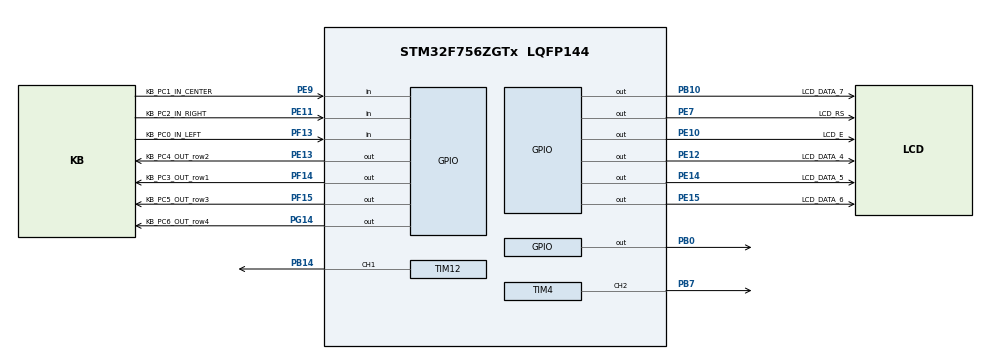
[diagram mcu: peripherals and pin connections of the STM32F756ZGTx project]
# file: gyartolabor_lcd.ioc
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Mcu.Family=STM32F7
Mcu.Name=STM32F756ZGTx
Mcu.Package=LQFP144
NVIC.PriorityGroup=NVIC_PRIORITYGROUP_4
NVIC.TIM4_IRQn=true\:0\:0\:false\:false\:true\:true\:true
NVIC.TIM8_BRK_TIM12_IRQn=true\:0\:0\:false\:false\:true\:true\:true
PB0.Signal=GPIO_Output
PB10.GPIO_Label=LCD_DATA_7
PB10.Signal=GPIO_Output
PB14.Signal=S_TIM12_CH1
PB7.Signal=S_TIM4_CH2
PE10.GPIO_Label=LCD_E
PE10.Signal=GPIO_Output
PE11.GPIO_Label=KB_PC2_IN_RIGHT
PE11.Signal=GPIO_Input
PE12.GPIO_Label=LCD_DATA_4
PE12.Signal=GPIO_Output
PE13.GPIO_Label=KB_PC4_OUT_row2
PE13.Signal=GPIO_Output
PE14.GPIO_Label=LCD_DATA_5
PE14.Signal=GPIO_Output
PE15.GPIO_Label=LCD_DATA_6
PE15.Signal=GPIO_Output
PE7.GPIO_Label=LCD_RS
PE7.Signal=GPIO_Output
PE9.GPIO_Label=KB_PC1_IN_CENTER
PE9.Signal=GPIO_Input
PF13.GPIO_Label=KB_PC0_IN_LEFT
PF13.Signal=GPIO_Input
PF14.GPIO_Label=KB_PC3_OUT_row1
PF14.Signal=GPIO_Output
PF15.GPIO_Label=KB_PC5_OUT_row3
PF15.Signal=GPIO_Output
PG14.GPIO_Label=KB_PC6_OUT_row4
PG14.Signal=GPIO_Output
ProjectManager.HeapSize=0x200
ProjectManager.StackSize=0x400
ProjectManager.TargetToolchain=TrueSTUDIO
RCC.HSE_VALUE=25000000
RCC.HSI_VALUE=16000000
RCC.LSE_VALUE=32768
RCC.USBFreq_Value=96000000
RCC.VCOOutputFreq_Value=192000000
SH.S_TIM12_CH1.0=TIM12_CH1,PWM Generation1 CH1
SH.S_TIM4_CH2.0=TIM4_CH2,PWM Generation2 CH2
TIM12.Channel-PWM\ Generation1\ CH1=TIM_CHANNEL_1
TIM12.Period=100
TIM12.Prescaler=15
TIM12.Pulse-PWM\ Generation1\ CH1=5
TIM4.Channel-PWM\ Generation2\ CH2=TIM_CHANNEL_2
TIM4.Period=100
TIM4.Prescaler=15
TIM4.Pulse-PWM\ Generation2\ CH2=5
board=custom

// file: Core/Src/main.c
/* USER CODE BEGIN Header */
/**
  ******************************************************************************
  * @file           : main.c
  * @brief          : Main program body
  ******************************************************************************
  * @attention
  *
  * <h2><center>&copy; Copyright (c) 2021 STMicroelectronics.
  * All rights reserved.</center></h2>
  *
  * This software component is licensed by ST under BSD 3-Clause license,
  * the "License"; You may not use this file except in compliance with the
  * License. You may obtain a copy of the License at:
  *                        opensource.org/licenses/BSD-3-Clause
  *
  ******************************************************************************
  */
/* USER CODE END Header */
#include "main.h"

/* USER CODE BEGIN Includes */
#include "lcd.h"
#include "matrix.h"
//#include "code.h"
/* USER CODE END Includes */

TIM_HandleTypeDef htim4;
TIM_HandleTypeDef htim12;

/* USER CODE BEGIN PV */
uint8_t kek = 0;
uint8_t piros = 0;
uint8_t zold = 0;
uint8_t cnt =0;
/* USER CODE END PV */

void SystemClock_Config(void);
static void MX_GPIO_Init(void);
static void MX_TIM4_Init(void);
static void MX_TIM12_Init(void);
/* USER CODE BEGIN PFP */
void read_matrix(void){

	matrix_search();

	uint8_t key=get_key();
	switch(key)
	{
	case 1: if(piros<100) piros+=10;
			__HAL_TIM_SET_COMPARE(&htim12, TIM_CHANNEL_1, piros);

	 break;

	case 2:  if(kek<100) kek+=10;
			__HAL_TIM_SET_COMPARE(&htim4, TIM_CHANNEL_2, kek);
		break;

	case 3:if(zold>0) zold-=10;  break;

	case 7: if(piros>0) piros-=10;
			__HAL_TIM_SET_COMPARE(&htim12, TIM_CHANNEL_1, piros);
			break;

	case 8:  if(kek>0) kek-=10;
			__HAL_TIM_SET_COMPARE(&htim4, TIM_CHANNEL_2, kek);
		break;

	case 9: if(zold<100) zold+=10;  break;
	}

}

void HAL_TIM_PeriodElapsedCallback(TIM_HandleTypeDef *htim)
{
	if (htim->Instance == TIM4)
	{
		if(zold<cnt){
			HAL_GPIO_WritePin(GPIOB, GPIO_PIN_0, SET);
		}
		else
		{
			HAL_GPIO_WritePin(GPIOB, GPIO_PIN_0, RESET);
		}

		cnt++;
		if(cnt==100) cnt=0;
	}
}
/* USER CODE END PFP */

int main(void)
{

  /* MCU Configuration--------------------------------------------------------*/

  /* Reset of all peripherals, Initializes the Flash interface and the Systick. */
  HAL_Init();

  /* Configure the system clock */
  SystemClock_Config();

  /* Initialize all configured peripherals */
  MX_GPIO_Init();
  MX_TIM4_Init();
  MX_TIM12_Init();
  /* USER CODE BEGIN 2 */
  HAL_TIM_PWM_Start_IT(&htim12, TIM_CHANNEL_1);
  HAL_TIM_PWM_Start_IT(&htim4, TIM_CHANNEL_2);
  HAL_TIM_Base_Start_IT(&htim4);
  //LCD_init();
  //LCD_cmd(0x01);
  //LCD_cmd(0x80);
  //LCD_xy(4,1);
  //LCD_string("hello grg");
  uint8_t matrix_k=0;
  //LCD_string("!");
  //HAL_GPIO_WritePin(GPIOB, GPIO_PIN_7, GPIO_PIN_SET);
  //HAL_GPIO_WritePin(LED_R_GPIO_Port, LED_R_Pin, GPIO_PIN_SET);
  /* USER CODE END 2 */

  /* Infinite loop */
  /* USER CODE BEGIN WHILE */
  while (1)
  {
	  read_matrix();
    /* USER CODE END WHILE */

  }
}

void SystemClock_Config(void)
{
  RCC_OscInitTypeDef RCC_OscInitStruct = {0};
  RCC_ClkInitTypeDef RCC_ClkInitStruct = {0};

  /** Configure the main internal regulator output voltage
  */
  __HAL_RCC_PWR_CLK_ENABLE();
  __HAL_PWR_VOLTAGESCALING_CONFIG(PWR_REGULATOR_VOLTAGE_SCALE3);
  /** Initializes the RCC Oscillators according to the specified parameters
  * in the RCC_OscInitTypeDef structure.
  */
  RCC_OscInitStruct.OscillatorType = RCC_OSCILLATORTYPE_HSI;
  RCC_OscInitStruct.HSIState = RCC_HSI_ON;
  RCC_OscInitStruct.HSICalibrationValue = RCC_HSICALIBRATION_DEFAULT;
  RCC_OscInitStruct.PLL.PLLState = RCC_PLL_NONE;
  if (HAL_RCC_OscConfig(&RCC_OscInitStruct) != HAL_OK)
  {
    Error_Handler();
  }
  /** Initializes the CPU, AHB and APB buses clocks
  */
  RCC_ClkInitStruct.ClockType = RCC_CLOCKTYPE_HCLK|RCC_CLOCKTYPE_SYSCLK
                              |RCC_CLOCKTYPE_PCLK1|RCC_CLOCKTYPE_PCLK2;
  RCC_ClkInitStruct.SYSCLKSource = RCC_SYSCLKSOURCE_HSI;
  RCC_ClkInitStruct.AHBCLKDivider = RCC_SYSCLK_DIV1;
  RCC_ClkInitStruct.APB1CLKDivider = RCC_HCLK_DIV1;
  RCC_ClkInitStruct.APB2CLKDivider = RCC_HCLK_DIV1;

  if (HAL_RCC_ClockConfig(&RCC_ClkInitStruct, FLASH_LATENCY_0) != HAL_OK)
  {
    Error_Handler();
  }
}

static void MX_TIM4_Init(void)
{

  TIM_MasterConfigTypeDef sMasterConfig = {0};
  TIM_OC_InitTypeDef sConfigOC = {0};

  htim4.Instance = TIM4;
  htim4.Init.Prescaler = 15;
  htim4.Init.CounterMode = TIM_COUNTERMODE_UP;
  htim4.Init.Period = 100;
  htim4.Init.ClockDivision = TIM_CLOCKDIVISION_DIV1;
  htim4.Init.AutoReloadPreload = TIM_AUTORELOAD_PRELOAD_DISABLE;
  if (HAL_TIM_PWM_Init(&htim4) != HAL_OK)
  {
    Error_Handler();
  }
  sMasterConfig.MasterOutputTrigger = TIM_TRGO_RESET;
  sMasterConfig.MasterSlaveMode = TIM_MASTERSLAVEMODE_DISABLE;
  if (HAL_TIMEx_MasterConfigSynchronization(&htim4, &sMasterConfig) != HAL_OK)
  {
    Error_Handler();
  }
  sConfigOC.OCMode = TIM_OCMODE_PWM1;
  sConfigOC.Pulse = 5;
  sConfigOC.OCPolarity = TIM_OCPOLARITY_HIGH;
  sConfigOC.OCFastMode = TIM_OCFAST_DISABLE;
  if (HAL_TIM_PWM_ConfigChannel(&htim4, &sConfigOC, TIM_CHANNEL_2) != HAL_OK)
  {
    Error_Handler();
  }
  HAL_TIM_MspPostInit(&htim4);

}

static void MX_TIM12_Init(void)
{

  TIM_OC_InitTypeDef sConfigOC = {0};

  htim12.Instance = TIM12;
  htim12.Init.Prescaler = 15;
  htim12.Init.CounterMode = TIM_COUNTERMODE_UP;
  htim12.Init.Period = 100;
  htim12.Init.ClockDivision = TIM_CLOCKDIVISION_DIV1;
  htim12.Init.AutoReloadPreload = TIM_AUTORELOAD_PRELOAD_DISABLE;
  if (HAL_TIM_PWM_Init(&htim12) != HAL_OK)
  {
    Error_Handler();
  }
  sConfigOC.OCMode = TIM_OCMODE_PWM1;
  sConfigOC.Pulse = 5;
  sConfigOC.OCPolarity = TIM_OCPOLARITY_HIGH;
  sConfigOC.OCFastMode = TIM_OCFAST_DISABLE;
  if (HAL_TIM_PWM_ConfigChannel(&htim12, &sConfigOC, TIM_CHANNEL_1) != HAL_OK)
  {
    Error_Handler();
  }
  HAL_TIM_MspPostInit(&htim12);

}

static void MX_GPIO_Init(void)
{
  GPIO_InitTypeDef GPIO_InitStruct = {0};

  /* GPIO Ports Clock Enable */
  __HAL_RCC_GPIOB_CLK_ENABLE();
  __HAL_RCC_GPIOF_CLK_ENABLE();
  __HAL_RCC_GPIOE_CLK_ENABLE();
  __HAL_RCC_GPIOG_CLK_ENABLE();

  /*Configure GPIO pin Output Level */
  HAL_GPIO_WritePin(GPIOB, GPIO_PIN_0|LCD_DATA_7_Pin, GPIO_PIN_RESET);

  /*Configure GPIO pin Output Level */
  HAL_GPIO_WritePin(GPIOF, KB_PC3_OUT_row1_Pin|KB_PC5_OUT_row3_Pin, GPIO_PIN_RESET);

  /*Configure GPIO pin Output Level */
  HAL_GPIO_WritePin(GPIOE, LCD_RS_Pin|LCD_E_Pin|LCD_DATA_4_Pin|KB_PC4_OUT_row2_Pin
                          |LCD_DATA_5_Pin|LCD_DATA_6_Pin, GPIO_PIN_RESET);

  /*Configure GPIO pin Output Level */
  HAL_GPIO_WritePin(KB_PC6_OUT_row4_GPIO_Port, KB_PC6_OUT_row4_Pin, GPIO_PIN_RESET);

  /*Configure GPIO pins : PB0 LCD_DATA_7_Pin */
  GPIO_InitStruct.Pin = GPIO_PIN_0|LCD_DATA_7_Pin;
  GPIO_InitStruct.Mode = GPIO_MODE_OUTPUT_PP;
  GPIO_InitStruct.Pull = GPIO_NOPULL;
  GPIO_InitStruct.Speed = GPIO_SPEED_FREQ_LOW;
  HAL_GPIO_Init(GPIOB, &GPIO_InitStruct);

  /*Configure GPIO pin : KB_PC0_IN_LEFT_Pin */
  GPIO_InitStruct.Pin = KB_PC0_IN_LEFT_Pin;
  GPIO_InitStruct.Mode = GPIO_MODE_INPUT;
  GPIO_InitStruct.Pull = GPIO_NOPULL;
  HAL_GPIO_Init(KB_PC0_IN_LEFT_GPIO_Port, &GPIO_InitStruct);

  /*Configure GPIO pins : KB_PC3_OUT_row1_Pin KB_PC5_OUT_row3_Pin */
  GPIO_InitStruct.Pin = KB_PC3_OUT_row1_Pin|KB_PC5_OUT_row3_Pin;
  GPIO_InitStruct.Mode = GPIO_MODE_OUTPUT_PP;
  GPIO_InitStruct.Pull = GPIO_NOPULL;
  GPIO_InitStruct.Speed = GPIO_SPEED_FREQ_LOW;
  HAL_GPIO_Init(GPIOF, &GPIO_InitStruct);

  /*Configure GPIO pins : LCD_RS_Pin LCD_E_Pin LCD_DATA_4_Pin KB_PC4_OUT_row2_Pin
                           LCD_DATA_5_Pin LCD_DATA_6_Pin */
  GPIO_InitStruct.Pin = LCD_RS_Pin|LCD_E_Pin|LCD_DATA_4_Pin|KB_PC4_OUT_row2_Pin
                          |LCD_DATA_5_Pin|LCD_DATA_6_Pin;
  GPIO_InitStruct.Mode = GPIO_MODE_OUTPUT_PP;
  GPIO_InitStruct.Pull = GPIO_NOPULL;
  GPIO_InitStruct.Speed = GPIO_SPEED_FREQ_LOW;
  HAL_GPIO_Init(GPIOE, &GPIO_InitStruct);

  /*Configure GPIO pins : KB_PC1_IN_CENTER_Pin KB_PC2_IN_RIGHT_Pin */
  GPIO_InitStruct.Pin = KB_PC1_IN_CENTER_Pin|KB_PC2_IN_RIGHT_Pin;
  GPIO_InitStruct.Mode = GPIO_MODE_INPUT;
  GPIO_InitStruct.Pull = GPIO_NOPULL;
  HAL_GPIO_Init(GPIOE, &GPIO_InitStruct);

  /*Configure GPIO pin : KB_PC6_OUT_row4_Pin */
  GPIO_InitStruct.Pin = KB_PC6_OUT_row4_Pin;
  GPIO_InitStruct.Mode = GPIO_MODE_OUTPUT_PP;
  GPIO_InitStruct.Pull = GPIO_NOPULL;
  GPIO_InitStruct.Speed = GPIO_SPEED_FREQ_LOW;
  HAL_GPIO_Init(KB_PC6_OUT_row4_GPIO_Port, &GPIO_InitStruct);

}

void Error_Handler(void)
{
  __disable_irq();
  while (1)
  {
  }
}

/************************ (C) COPYRIGHT STMicroelectronics *****END OF FILE****/
